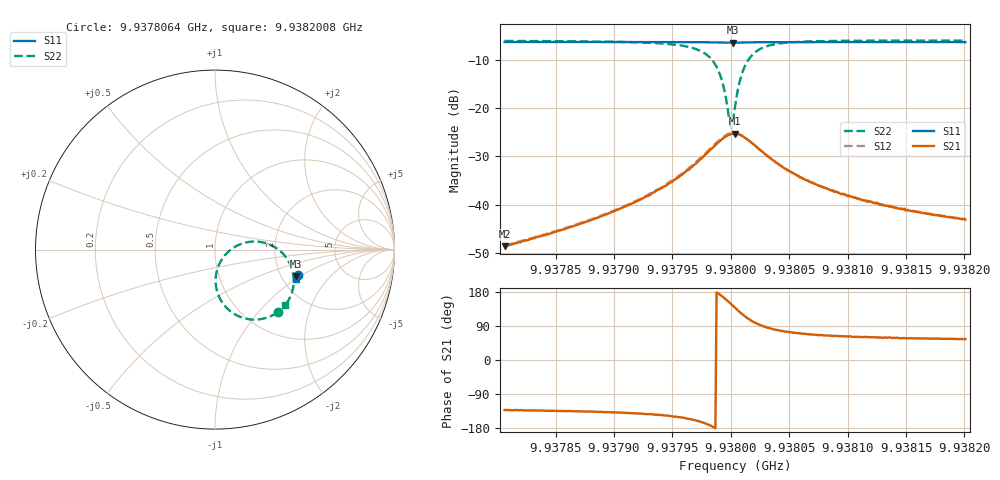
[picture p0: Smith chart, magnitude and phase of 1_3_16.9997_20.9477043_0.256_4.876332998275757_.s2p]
#  HZ  S  RI  R  50.00
! Rohde & Schwarz Vector Network Analyzer
! Rohde-Schwarz,ZNB20-2Port,1311601062101988,3.16
! Created: UTC 3/20/2024, 10:52:05 PM
! freq[Hz]  re:S11  im:S11  re:S21  im:S21  re:S12  im:S12  re:S22  im:S22
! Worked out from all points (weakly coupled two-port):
!   401 points, 9.9378064 GHz to 9.9382008 GHz, reference 50 ohm
!   highest |S21| = -25.34 dB at 9.9380036 GHz (marker M1); lowest = -48.6 dB at 9.9378064 GHz (marker M2)
!   lowest |S11| = -6.5 dB at 9.9380016 GHz (marker M3), VSWR 2.80, Z = 119 - j45.7 ohm
!   |S11| at or under -10 dB: nowhere
!   |S22| runs from -24.0 to -6.0 dB; largest |S21 - S12| = 0.0032
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9.9378064e9  0.4607 -0.1388  -0.00249 -0.00275  -0.00256 -0.00276  0.3483 -0.3493
9.93787246e9  0.4588 -0.1434  -0.00461 -0.00446  -0.00472 -0.00454  0.3261 -0.3634
9.93791091e9  0.4577 -0.1461  -0.00739 -0.00628  -0.00763 -0.0063  0.2993 -0.3758
9.93793852e9  0.4564 -0.1483  -0.0118 -0.00815  -0.0121 -0.00817  0.2608 -0.387
9.93796711e9  0.4544 -0.1505  -0.0228 -0.00964  -0.0239 -0.0095  0.1668 -0.3834
9.9379819e9  0.4524 -0.1513  -0.036 -0.00503  -0.0374 -0.00421  0.0671 -0.3271
9.93798683e9  0.4516 -0.1511  -0.0413 -3.87e-05  -0.0429 0.00133  0.03 -0.2774
9.93799077e9  0.4507 -0.1507  -0.0452 0.00618  -0.0467 0.00808  0.00857 -0.2204
9.93799471e9  0.4503 -0.1501  -0.0476 0.0147  -0.0485 0.0173  0.0045 -0.1479
9.93799866e9  0.4498 -0.1491  -0.0468 0.0246  -0.047 0.0276  0.0291 -0.0692
9.93800063e9  0.45 -0.1485  -0.045 0.0294  -0.0445 0.0325  0.0535 -0.0335
9.93800162e9  0.45 -0.1484  -0.0435 0.0318  -0.0431 0.0347  0.068 -0.0177
9.93800359e9  0.4502 -0.148  -0.0402 0.0361  -0.0392 0.0389  0.1029 0.0101
9.93800654e9  0.4509 -0.1472  -0.0339 0.0412  -0.0324 0.0434  0.1608 0.0365
9.93801049e9  0.4518 -0.1471  -0.0245 0.0443  -0.0227 0.0458  0.2394 0.0443
9.93801443e9  0.4527 -0.147  -0.0159 0.0442  -0.0142 0.0451  0.3047 0.0283
9.93802035e9  0.4538 -0.1476  -0.00632 0.0408  -0.00494 0.041  0.372 -0.0156
9.93803711e9  0.4549 -0.1501  0.00465 0.028  0.00537 0.0277  0.435 -0.1319
9.93806964e9  0.4546 -0.1535  0.00666 0.0155  0.00688 0.0154  0.4309 -0.2312
9.93809725e9  0.4541 -0.1558  0.00589 0.0113  0.00608 0.0112  0.4185 -0.2649
9.9381357e9  0.4528 -0.1586  0.00479 0.00823  0.00528 0.00819  0.4056 -0.2889
9.93820077e9  0.4511 -0.163  0.00399 0.00575  0.00413 0.00578  0.3912 -0.3092
